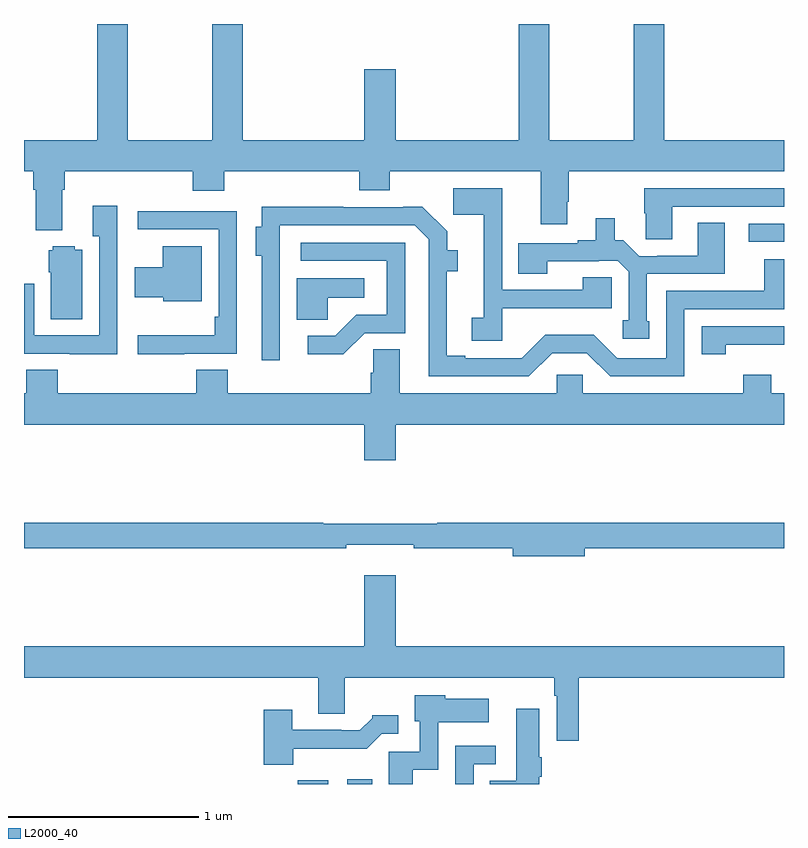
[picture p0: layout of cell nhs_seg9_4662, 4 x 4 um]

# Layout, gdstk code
import gdstk
lib = gdstk.Library(unit=1e-6, precision=1e-09)
def R(c, l, rs):  # rectangles x0, y0, x1, y1
    for r in rs: c.add(gdstk.rectangle(r[:2], r[2:], *l))
def P(c, l, *ps):  # polygons
    for p in ps: c.add(gdstk.Polygon(p, *l))
L2000_40 = (2000, 40)

nhs_seg9_4662 = lib.new_cell('nhs_seg9_4662')
R(nhs_seg9_4662, L2000_40, [(380.44,1222.5,380.602,1222.519), (380.702,1222.5,380.833,1222.525), (382.815,1225.353,383,1225.449)])
P(nhs_seg9_4662, L2000_40, [(379.201,1225.628),(379.214,1225.628),(379.214,1225.724),(379.889,1225.724),(379.889,1225.622),(380.054,1225.622),(380.054,1225.724),(380.765,1225.724),(380.765,1225.625),(380.925,1225.625),(380.925,1225.724),(381.719,1225.724),(381.719,1225.446),(381.859,1225.446),(381.859,1225.564),(381.867,1225.564),(381.867,1225.724),(383,1225.724),(383,1225.888),(382.37,1225.888),(382.37,1226.5),(382.21,1226.5),(382.21,1225.888),(381.765,1225.888),(381.765,1226.5),(381.605,1226.5),(381.605,1225.888),(380.956,1225.888),(380.956,1226.263),(380.792,1226.263),(380.792,1225.888),(380.15,1225.888),(380.15,1226.5),(379.99,1226.5),(379.99,1225.888),(379.545,1225.888),(379.545,1226.5),(379.385,1226.5),(379.385,1225.888),(379,1225.888),(379,1225.724),(379.049,1225.724),(379.049,1225.628),(379.061,1225.628),(379.061,1225.415),(379.201,1225.415)],
  [(381.516,1225.004),(381.983,1225.004),(381.983,1225.005),(382.093,1225.005),(382.093,1225.166),(381.94,1225.166),(381.94,1225.101),(381.516,1225.101),(381.516,1225.636),(381.258,1225.636),(381.258,1225.497),(381.419,1225.497),(381.419,1224.954),(381.357,1224.954),(381.357,1224.834),(381.516,1224.834)],
  [(382.411,1225.539),(383,1225.539),(383,1225.635),(382.264,1225.635),(382.264,1225.503),(382.273,1225.503),(382.273,1225.366),(382.411,1225.366)],
  [(379.491,1225.543),(379.361,1225.543),(379.361,1225.382),(379.395,1225.382),(379.395,1224.861),(379.053,1224.861),(379.053,1225.132),(379,1225.132),(379,1224.765),(379.241,1224.765),(379.241,1224.761),(379.491,1224.761)],
  [(381.78,1224.768),(381.963,1224.768),(382.086,1224.645),(382.476,1224.645),(382.476,1224.999),(383,1224.999),(383,1225.261),(382.895,1225.261),(382.895,1225.095),(382.38,1225.095),(382.38,1224.741),(382.122,1224.741),(381.998,1224.865),(381.744,1224.865),(381.62,1224.741),(381.322,1224.741),(381.322,1224.754),(381.226,1224.754),(381.226,1225.2),(381.283,1225.2),(381.283,1225.31),(381.227,1225.31),(381.227,1225.408),(381.097,1225.538),(380.996,1225.538),(380.996,1225.536),(380.681,1225.536),(380.681,1225.538),(380.25,1225.538),(380.25,1225.432),(380.219,1225.432),(380.219,1225.28),(380.25,1225.28),(380.25,1224.729),(380.346,1224.729),(380.346,1225.44),(381.057,1225.44),(381.129,1225.368),(381.129,1224.645),(381.657,1224.645)],
  [(379.843,1224.765),(380.121,1224.765),(380.121,1225.515),(379.599,1225.515),(379.599,1225.419),(380.025,1225.419),(380.025,1224.958),(380.005,1224.958),(380.005,1224.862),(379.599,1224.862),(379.599,1224.761),(379.843,1224.761)],
  [(382.291,1224.936),(382.278,1224.936),(382.278,1225.185),(382.687,1225.185),(382.687,1225.454),(382.547,1225.454),(382.547,1225.281),(382.333,1225.281),(382.333,1225.278),(382.239,1225.278),(382.155,1225.362),(382.108,1225.362),(382.108,1225.477),(382.01,1225.477),(382.01,1225.362),(381.914,1225.362),(381.914,1225.347),(381.601,1225.347),(381.601,1225.186),(381.753,1225.186),(381.753,1225.251),(382.025,1225.251),(382.025,1225.254),(382.125,1225.254),(382.182,1225.197),(382.182,1224.942),(382.152,1224.942),(382.152,1224.843),(382.291,1224.843)],
  [(380.793,1224.873),(381.006,1224.873),(381.006,1225.35),(380.457,1225.35),(380.457,1225.254),(380.91,1225.254),(380.91,1224.969),(380.748,1224.969),(380.637,1224.858),(380.493,1224.858),(380.493,1224.761),(380.68,1224.761)],
  [(379.306,1225.312),(379.266,1225.312),(379.266,1225.33),(379.152,1225.33),(379.152,1225.308),(379.13,1225.308),(379.13,1225.194),(379.142,1225.194),(379.142,1224.946),(379.306,1224.946)],
  [(379.936,1225.33),(379.73,1225.33),(379.73,1225.219),(379.584,1225.219),(379.584,1225.061),(379.734,1225.061),(379.734,1225.04),(379.936,1225.04)],
  [(380.599,1225.058),(380.791,1225.058),(380.791,1225.162),(380.435,1225.162),(380.435,1224.944),(380.599,1224.944)],
  [(382.694,1224.812),(383,1224.812),(383,1224.909),(382.566,1224.909),(382.566,1224.762),(382.694,1224.762)],
  [(380.956,1224.392),(383,1224.392),(383,1224.556),(382.933,1224.556),(382.933,1224.655),(382.786,1224.655),(382.786,1224.556),(381.942,1224.556),(381.942,1224.654),(381.804,1224.654),(381.804,1224.556),(380.977,1224.556),(380.977,1224.788),(380.838,1224.788),(380.838,1224.665),(380.825,1224.665),(380.825,1224.556),(380.072,1224.556),(380.072,1224.68),(379.907,1224.68),(379.907,1224.556),(379.178,1224.556),(379.178,1224.68),(379.013,1224.68),(379.013,1224.556),(379,1224.556),(379,1224.392),(380.792,1224.392),(380.792,1224.204),(380.956,1224.204)],
  [(381.952,1223.74),(383,1223.74),(383,1223.876),(381.176,1223.876),(381.176,1223.869),(380.576,1223.869),(380.576,1223.876),(379,1223.876),(379,1223.74),(380.696,1223.74),(380.696,1223.759),(381.052,1223.759),(381.052,1223.74),(381.572,1223.74),(381.572,1223.698),(381.952,1223.698)],
  [(381.92,1223.06),(383,1223.06),(383,1223.224),(380.956,1223.224),(380.956,1223.599),(380.792,1223.599),(380.792,1223.224),(379,1223.224),(379,1223.06),(380.549,1223.06),(380.549,1222.87),(380.689,1222.87),(380.689,1223.06),(381.792,1223.06),(381.792,1222.964),(381.804,1222.964),(381.804,1222.728),(381.92,1222.728)],
  [(381.046,1222.574),(381.18,1222.574),(381.18,1222.826),(381.445,1222.826),(381.445,1222.948),(381.216,1222.948),(381.216,1222.966),(381.056,1222.966),(381.056,1222.83),(381.084,1222.83),(381.084,1222.671),(380.921,1222.671),(380.921,1222.5),(381.046,1222.5)],
  [(381.712,1222.537),(381.725,1222.537),(381.725,1222.64),(381.712,1222.64),(381.712,1222.897),(381.59,1222.897),(381.59,1222.516),(381.451,1222.516),(381.451,1222.5),(381.712,1222.5)],
  [(380.416,1222.686),(380.805,1222.686),(380.883,1222.764),(380.971,1222.764),(380.971,1222.861),(380.832,1222.861),(380.832,1222.846),(380.768,1222.782),(380.669,1222.782),(380.669,1222.785),(380.413,1222.785),(380.413,1222.891),(380.261,1222.891),(380.261,1222.601),(380.416,1222.601)],
  [(381.366,1222.605),(381.484,1222.605),(381.484,1222.701),(381.27,1222.701),(381.27,1222.5),(381.366,1222.5)])

lib.write_gds('nhs_seg9_4662.gds')
